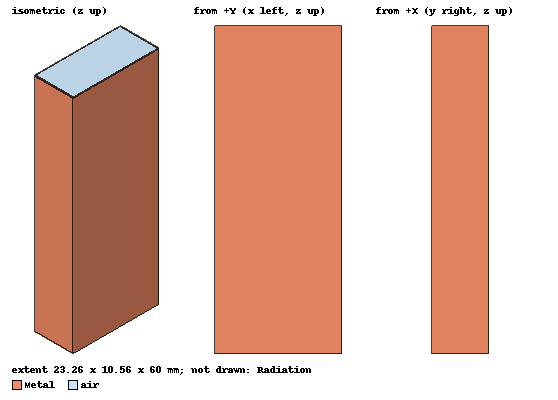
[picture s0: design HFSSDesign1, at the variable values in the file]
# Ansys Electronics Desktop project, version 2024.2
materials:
  vacuum: permittivity=1
  copper: permeability=0.999991 conductivity=58000000
  air: permittivity=1.0006 permeability=1.0000004

design HFSSDesign1 (HFSS, HFSS Modal Network, model units mm)
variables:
  a = 22.86mm
  b = 10.16mm
  L = 60mm
  th = 0.2mm
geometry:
  Box1 = box(corner=(-a/2, -b/2, 0mm), size=(a, b, L))
  Metal [copper] = box(corner=(-a/2-th, -b/2-th, 0mm), size=(a+2*th, b+2*th, L))
  Metal.subtract(Box1)
  air [air] = box(corner=(-a/2, -b/2, 0mm), size=(a, b, L))
  Radiation [air] = box(corner=(-a/2-5mm, -b/2-5mm, 0mm), size=(a+10mm, b+10mm, L))
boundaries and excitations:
  Rad1: Radiation Objects=Radiation
  1: Wave Port Faces=air.face(-z) WavePortType=Default NumModes=4 Modes{Mode1{IntLine{(0, -5.08, 0) -> (0, 5.08, 0)} CharImp=Zpi} Mode2{CharImp=Zpi} Mode3{CharImp=Zpi} Mode4{CharImp=Zpi}}
  2: Wave Port Faces=air.face(+z) WavePortType=Default NumModes=4 Modes{Mode1{IntLine{(0, -5.08, 60) -> (0, 5.08, 60)} CharImp=Zpi} Mode2{CharImp=Zpi} Mode3{CharImp=Zpi} Mode4{CharImp=Zpi}}
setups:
  Setup1: HfssDriven Frequency=10GHz MaxDeltaS=0.02 MaximumPasses=12 MinimumPasses=1 MinimumConvergedPasses=1 PercentRefinement=30 BasisOrder=1 PortAccuracy=2 DrivenSolverType="Direct Solver"
    sweep Sweep: 5GHz to 17GHz step 0.1GHz; 6.56GHz to 6.56GHz, 1 points; Type=Discrete SaveFields
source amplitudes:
  1:1: 1W 0deg
  1:2, 1:3, 1:4, 2:1..2:4: 0W 0deg
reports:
  Gamma Plot 1: im(Gamma(1:1)), im(Gamma(1:2)), im(Gamma(1:3)), im(Gamma(1:4)) vs Freq on Setup1 : Sweep; markers m1 at 6.5GHz, m2 at 13.1GHz, m3 at 14.7GHz, m4 at 16.1GHz
  S Parameter Plot 1: dB(S(1:1,2:1)), dB(S(1:2,2:2)), dB(S(1:3,2:3)), dB(S(1:4,2:4)) vs Freq on Setup1 : Sweep
